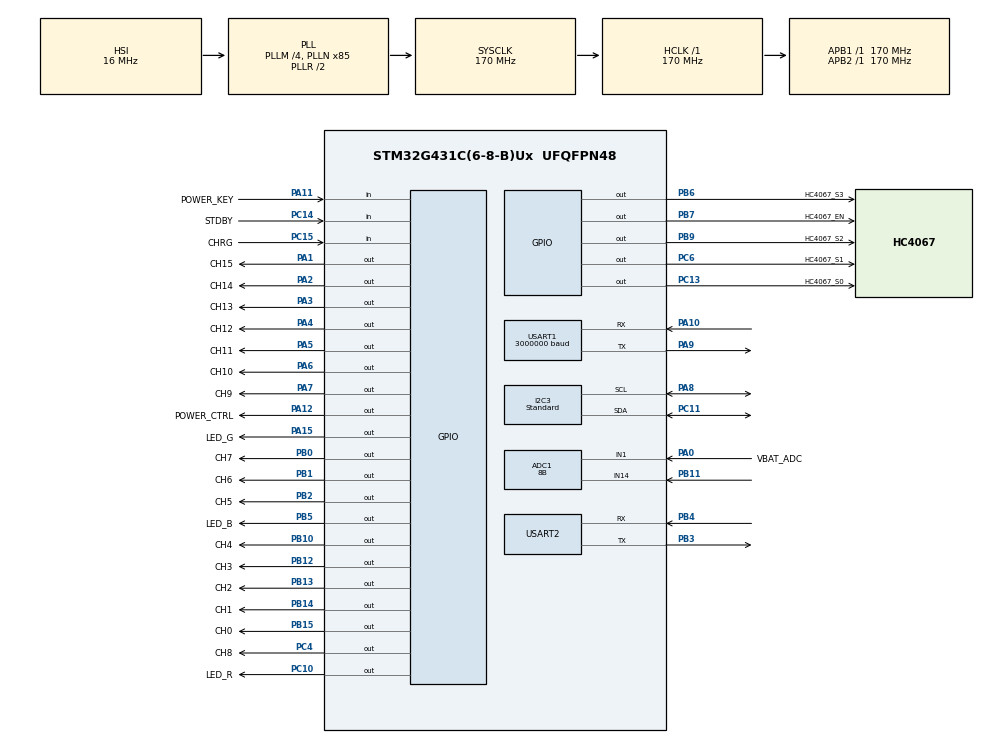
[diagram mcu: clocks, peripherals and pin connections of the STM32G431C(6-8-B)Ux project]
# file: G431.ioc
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ADC1.Channel-0\#ChannelRegularConversion=ADC_CHANNEL_14
ADC1.ContinuousConvMode=ENABLE
ADC1.DMAContinuousRequests=ENABLE
ADC1.NbrOfConversion=1
ADC1.NbrOfConversionFlag=1
ADC1.OffsetNumber-0\#ChannelRegularConversion=ADC_OFFSET_NONE
ADC1.Rank-0\#ChannelRegularConversion=1
ADC1.Resolution=ADC_RESOLUTION_8B
ADC1.SamplingTime-0\#ChannelRegularConversion=ADC_SAMPLETIME_2CYCLES_5
ADC1.master=1
ADC2.Channel-0\#ChannelRegularConversion=ADC_CHANNEL_1
ADC2.ClockPrescaler=ADC_CLOCK_SYNC_PCLK_DIV4
ADC2.ContinuousConvMode=ENABLE
ADC2.DMAContinuousRequests=ENABLE
ADC2.EOCSelection=ADC_EOC_SEQ_CONV
ADC2.NbrOfConversionFlag=1
ADC2.OffsetNumber-0\#ChannelRegularConversion=ADC_OFFSET_NONE
ADC2.Rank-0\#ChannelRegularConversion=1
ADC2.SamplingTime-0\#ChannelRegularConversion=ADC_SAMPLETIME_640CYCLES_5
Dma.ADC1.1.Direction=DMA_PERIPH_TO_MEMORY
Dma.ADC1.1.EventEnable=DISABLE
Dma.ADC1.1.Instance=DMA1_Channel2
Dma.ADC1.1.MemDataAlignment=DMA_MDATAALIGN_BYTE
Dma.ADC1.1.MemInc=DMA_MINC_ENABLE
Dma.ADC1.1.Mode=DMA_CIRCULAR
Dma.ADC1.1.PeriphDataAlignment=DMA_PDATAALIGN_BYTE
Dma.ADC1.1.PeriphInc=DMA_PINC_DISABLE
Dma.ADC1.1.Polarity=HAL_DMAMUX_REQ_GEN_RISING
Dma.ADC1.1.Priority=DMA_PRIORITY_LOW
Dma.ADC1.1.RequestNumber=1
Dma.ADC1.1.SignalID=NONE
Dma.ADC1.1.SyncEnable=DISABLE
Dma.ADC1.1.SyncPolarity=HAL_DMAMUX_SYNC_NO_EVENT
Dma.ADC1.1.SyncRequestNumber=1
Dma.ADC1.1.SyncSignalID=NONE
Dma.ADC2.3.Direction=DMA_PERIPH_TO_MEMORY
Dma.ADC2.3.EventEnable=DISABLE
Dma.ADC2.3.Instance=DMA1_Channel4
Dma.ADC2.3.MemDataAlignment=DMA_MDATAALIGN_HALFWORD
Dma.ADC2.3.MemInc=DMA_MINC_ENABLE
Dma.ADC2.3.Mode=DMA_CIRCULAR
Dma.ADC2.3.PeriphDataAlignment=DMA_PDATAALIGN_HALFWORD
Dma.ADC2.3.PeriphInc=DMA_PINC_DISABLE
Dma.ADC2.3.Polarity=HAL_DMAMUX_REQ_GEN_RISING
Dma.ADC2.3.Priority=DMA_PRIORITY_LOW
Dma.ADC2.3.RequestNumber=1
Dma.ADC2.3.SignalID=NONE
Dma.ADC2.3.SyncEnable=DISABLE
Dma.ADC2.3.SyncPolarity=HAL_DMAMUX_SYNC_NO_EVENT
Dma.ADC2.3.SyncRequestNumber=1
Dma.ADC2.3.SyncSignalID=NONE
Dma.Request0=USART1_TX
Dma.Request1=ADC1
Dma.Request2=USART1_RX
Dma.Request3=ADC2
Dma.Request4=USART2_RX
Dma.Request5=USART2_TX
Dma.USART1_RX.2.Direction=DMA_PERIPH_TO_MEMORY
Dma.USART1_RX.2.EventEnable=DISABLE
Dma.USART1_RX.2.Instance=DMA1_Channel3
Dma.USART1_RX.2.MemDataAlignment=DMA_MDATAALIGN_BYTE
Dma.USART1_RX.2.MemInc=DMA_MINC_ENABLE
Dma.USART1_RX.2.Mode=DMA_NORMAL
Dma.USART1_RX.2.PeriphDataAlignment=DMA_PDATAALIGN_BYTE
Dma.USART1_RX.2.PeriphInc=DMA_PINC_DISABLE
Dma.USART1_RX.2.Polarity=HAL_DMAMUX_REQ_GEN_RISING
Dma.USART1_RX.2.Priority=DMA_PRIORITY_LOW
Dma.USART1_RX.2.RequestNumber=1
Dma.USART1_RX.2.SignalID=NONE
Dma.USART1_RX.2.SyncEnable=DISABLE
Dma.USART1_RX.2.SyncPolarity=HAL_DMAMUX_SYNC_NO_EVENT
Dma.USART1_RX.2.SyncRequestNumber=1
Dma.USART1_RX.2.SyncSignalID=NONE
Dma.USART1_TX.0.Direction=DMA_MEMORY_TO_PERIPH
Dma.USART1_TX.0.EventEnable=DISABLE
Dma.USART1_TX.0.Instance=DMA1_Channel1
Dma.USART1_TX.0.MemDataAlignment=DMA_MDATAALIGN_BYTE
Dma.USART1_TX.0.MemInc=DMA_MINC_ENABLE
Dma.USART1_TX.0.Mode=DMA_NORMAL
Dma.USART1_TX.0.PeriphDataAlignment=DMA_PDATAALIGN_BYTE
Dma.USART1_TX.0.PeriphInc=DMA_PINC_DISABLE
Dma.USART1_TX.0.Polarity=HAL_DMAMUX_REQ_GEN_RISING
Dma.USART1_TX.0.Priority=DMA_PRIORITY_LOW
Dma.USART1_TX.0.RequestNumber=1
Dma.USART1_TX.0.SignalID=NONE
Dma.USART1_TX.0.SyncEnable=DISABLE
Dma.USART1_TX.0.SyncPolarity=HAL_DMAMUX_SYNC_NO_EVENT
Dma.USART1_TX.0.SyncRequestNumber=1
Dma.USART1_TX.0.SyncSignalID=NONE
Dma.USART2_RX.4.Direction=DMA_PERIPH_TO_MEMORY
Dma.USART2_RX.4.EventEnable=DISABLE
Dma.USART2_RX.4.Instance=DMA1_Channel5
Dma.USART2_RX.4.MemDataAlignment=DMA_MDATAALIGN_BYTE
Dma.USART2_RX.4.MemInc=DMA_MINC_ENABLE
Dma.USART2_RX.4.Mode=DMA_NORMAL
Dma.USART2_RX.4.PeriphDataAlignment=DMA_PDATAALIGN_BYTE
Dma.USART2_RX.4.PeriphInc=DMA_PINC_DISABLE
Dma.USART2_RX.4.Polarity=HAL_DMAMUX_REQ_GEN_RISING
Dma.USART2_RX.4.Priority=DMA_PRIORITY_MEDIUM
Dma.USART2_RX.4.RequestNumber=1
Dma.USART2_RX.4.SignalID=NONE
Dma.USART2_RX.4.SyncEnable=DISABLE
Dma.USART2_RX.4.SyncPolarity=HAL_DMAMUX_SYNC_NO_EVENT
Dma.USART2_RX.4.SyncRequestNumber=1
Dma.USART2_RX.4.SyncSignalID=NONE
Dma.USART2_TX.5.Direction=DMA_MEMORY_TO_PERIPH
Dma.USART2_TX.5.EventEnable=DISABLE
Dma.USART2_TX.5.Instance=DMA1_Channel6
Dma.USART2_TX.5.MemDataAlignment=DMA_MDATAALIGN_BYTE
Dma.USART2_TX.5.MemInc=DMA_MINC_ENABLE
Dma.USART2_TX.5.Mode=DMA_NORMAL
Dma.USART2_TX.5.PeriphDataAlignment=DMA_PDATAALIGN_BYTE
Dma.USART2_TX.5.PeriphInc=DMA_PINC_DISABLE
Dma.USART2_TX.5.Polarity=HAL_DMAMUX_REQ_GEN_RISING
Dma.USART2_TX.5.Priority=DMA_PRIORITY_MEDIUM
Dma.USART2_TX.5.RequestNumber=1
Dma.USART2_TX.5.SignalID=NONE
Dma.USART2_TX.5.SyncEnable=DISABLE
Dma.USART2_TX.5.SyncPolarity=HAL_DMAMUX_SYNC_NO_EVENT
Dma.USART2_TX.5.SyncRequestNumber=1
Dma.USART2_TX.5.SyncSignalID=NONE
I2C3.I2C_Speed_Mode=I2C_Standard
I2C3.Timing=0x40B285C2
IWDG.Prescaler=IWDG_PRESCALER_64
Mcu.Family=STM32G4
Mcu.Name=STM32G431C(6-8-B)Ux
Mcu.Package=UFQFPN48
NVIC.DMA1_Channel1_IRQn=true\:0\:0\:false\:false\:true\:false\:true\:true
NVIC.DMA1_Channel2_IRQn=true\:0\:0\:false\:false\:true\:false\:true\:true
NVIC.DMA1_Channel3_IRQn=true\:0\:0\:false\:false\:true\:false\:true\:true
NVIC.DMA1_Channel4_IRQn=true\:0\:0\:false\:false\:true\:false\:true\:true
NVIC.DMA1_Channel5_IRQn=true\:0\:0\:false\:false\:true\:false\:true\:true
NVIC.DMA1_Channel6_IRQn=true\:0\:0\:false\:false\:true\:false\:true\:true
NVIC.PriorityGroup=NVIC_PRIORITYGROUP_4
NVIC.TIM7_IRQn=true\:0\:0\:false\:false\:true\:true\:true\:true
NVIC.USART1_IRQn=true\:0\:0\:false\:false\:true\:false\:true\:true
NVIC.USART2_IRQn=true\:0\:0\:false\:false\:true\:true\:true\:true
PA0.GPIO_Label=VBAT_ADC
PA0.Signal=SharedAnalog_PA0
PA1.GPIO_Label=CH15
PA1.GPIO_ModeDefaultOutputPP=GPIO_MODE_OUTPUT_PP
PA1.GPIO_PuPd=GPIO_NOPULL
PA1.GPIO_Speed=GPIO_SPEED_FREQ_VERY_HIGH
PA1.PinState=GPIO_PIN_RESET
PA1.Signal=GPIO_Output
PA10.Mode=Asynchronous
PA10.Signal=USART1_RX
PA11.GPIO_Label=POWER_KEY
PA11.GPIO_PuPd=GPIO_PULLUP
PA11.Signal=GPIO_Input
PA12.GPIO_Label=POWER_CTRL
PA12.GPIO_PuPd=GPIO_PULLDOWN
PA12.PinState=GPIO_PIN_RESET
PA12.Signal=GPIO_Output
PA13.Mode=Serial_Wire
PA13.Signal=SYS_JTMS-SWDIO
PA14.Mode=Serial_Wire
PA14.Signal=SYS_JTCK-SWCLK
PA15.GPIO_Label=LED_G
PA15.PinState=GPIO_PIN_SET
PA15.Signal=GPIO_Output
PA2.GPIO_Label=CH14
PA2.GPIO_ModeDefaultOutputPP=GPIO_MODE_OUTPUT_PP
PA2.GPIO_PuPd=GPIO_NOPULL
PA2.GPIO_Speed=GPIO_SPEED_FREQ_VERY_HIGH
PA2.PinState=GPIO_PIN_RESET
PA2.Signal=GPIO_Output
PA3.GPIO_Label=CH13
PA3.GPIO_ModeDefaultOutputPP=GPIO_MODE_OUTPUT_PP
PA3.GPIO_PuPd=GPIO_NOPULL
PA3.GPIO_Speed=GPIO_SPEED_FREQ_VERY_HIGH
PA3.PinState=GPIO_PIN_RESET
PA3.Signal=GPIO_Output
PA4.GPIO_Label=CH12
PA4.GPIO_ModeDefaultOutputPP=GPIO_MODE_OUTPUT_PP
PA4.GPIO_PuPd=GPIO_NOPULL
PA4.GPIO_Speed=GPIO_SPEED_FREQ_VERY_HIGH
PA4.PinState=GPIO_PIN_RESET
PA4.Signal=GPIO_Output
PA5.GPIO_Label=CH11
PA5.GPIO_ModeDefaultOutputPP=GPIO_MODE_OUTPUT_PP
PA5.GPIO_PuPd=GPIO_NOPULL
PA5.GPIO_Speed=GPIO_SPEED_FREQ_VERY_HIGH
PA5.PinState=GPIO_PIN_RESET
PA5.Signal=GPIO_Output
PA6.GPIO_Label=CH10
PA6.GPIO_ModeDefaultOutputPP=GPIO_MODE_OUTPUT_PP
PA6.GPIO_PuPd=GPIO_NOPULL
PA6.GPIO_Speed=GPIO_SPEED_FREQ_VERY_HIGH
PA6.PinState=GPIO_PIN_RESET
PA6.Signal=GPIO_Output
PA7.GPIO_Label=CH9
PA7.GPIO_ModeDefaultOutputPP=GPIO_MODE_OUTPUT_PP
PA7.GPIO_PuPd=GPIO_NOPULL
PA7.GPIO_Speed=GPIO_SPEED_FREQ_VERY_HIGH
PA7.PinState=GPIO_PIN_RESET
PA7.Signal=GPIO_Output
PA8.Mode=I2C
PA8.Signal=I2C3_SCL
PA9.Mode=Asynchronous
PA9.Signal=USART1_TX
PB0.GPIO_Label=CH7
PB0.GPIO_ModeDefaultOutputPP=GPIO_MODE_OUTPUT_PP
PB0.GPIO_PuPd=GPIO_NOPULL
PB0.GPIO_Speed=GPIO_SPEED_FREQ_VERY_HIGH
PB0.PinState=GPIO_PIN_RESET
PB0.Signal=GPIO_Output
PB1.GPIO_Label=CH6
PB1.GPIO_ModeDefaultOutputPP=GPIO_MODE_OUTPUT_PP
PB1.GPIO_PuPd=GPIO_NOPULL
PB1.GPIO_Speed=GPIO_SPEED_FREQ_VERY_HIGH
PB1.PinState=GPIO_PIN_RESET
PB1.Signal=GPIO_Output
PB10.GPIO_Label=CH4
PB10.GPIO_ModeDefaultOutputPP=GPIO_MODE_OUTPUT_PP
PB10.GPIO_PuPd=GPIO_NOPULL
PB10.GPIO_Speed=GPIO_SPEED_FREQ_VERY_HIGH
PB10.PinState=GPIO_PIN_RESET
PB10.Signal=GPIO_Output
PB11.Mode=IN14-Single-Ended
PB11.Signal=ADC1_IN14
PB12.GPIO_Label=CH3
PB12.GPIO_ModeDefaultOutputPP=GPIO_MODE_OUTPUT_PP
PB12.GPIO_PuPd=GPIO_NOPULL
PB12.GPIO_Speed=GPIO_SPEED_FREQ_VERY_HIGH
PB12.PinState=GPIO_PIN_RESET
PB12.Signal=GPIO_Output
PB13.GPIO_Label=CH2
PB13.GPIO_ModeDefaultOutputPP=GPIO_MODE_OUTPUT_PP
PB13.GPIO_PuPd=GPIO_NOPULL
PB13.GPIO_Speed=GPIO_SPEED_FREQ_VERY_HIGH
PB13.PinState=GPIO_PIN_RESET
PB13.Signal=GPIO_Output
PB14.GPIO_Label=CH1
PB14.GPIO_ModeDefaultOutputPP=GPIO_MODE_OUTPUT_PP
PB14.GPIO_PuPd=GPIO_NOPULL
PB14.GPIO_Speed=GPIO_SPEED_FREQ_VERY_HIGH
PB14.PinState=GPIO_PIN_RESET
PB14.Signal=GPIO_Output
PB15.GPIO_Label=CH0
PB15.GPIO_ModeDefaultOutputPP=GPIO_MODE_OUTPUT_PP
PB15.GPIO_PuPd=GPIO_NOPULL
PB15.GPIO_Speed=GPIO_SPEED_FREQ_VERY_HIGH
PB15.PinState=GPIO_PIN_RESET
PB15.Signal=GPIO_Output
PB2.GPIO_Label=CH5
PB2.GPIO_ModeDefaultOutputPP=GPIO_MODE_OUTPUT_PP
PB2.GPIO_PuPd=GPIO_NOPULL
PB2.GPIO_Speed=GPIO_SPEED_FREQ_VERY_HIGH
PB2.PinState=GPIO_PIN_RESET
PB2.Signal=GPIO_Output
PB3.Mode=Asynchronous
PB3.Signal=USART2_TX
PB4.Mode=Asynchronous
PB4.Signal=USART2_RX
PB5.GPIO_Label=LED_B
PB5.PinState=GPIO_PIN_SET
PB5.Signal=GPIO_Output
PB6.GPIO_Label=HC4067_S3
PB6.GPIO_ModeDefaultOutputPP=GPIO_MODE_OUTPUT_PP
PB6.GPIO_PuPd=GPIO_NOPULL
PB6.PinState=GPIO_PIN_RESET
PB6.Signal=GPIO_Output
PB7.GPIO_Label=HC4067_EN
PB7.GPIO_Speed=GPIO_SPEED_FREQ_VERY_HIGH
PB7.PinState=GPIO_PIN_SET
PB7.Signal=GPIO_Output
PB9.GPIO_Label=HC4067_S2
PB9.GPIO_ModeDefaultOutputPP=GPIO_MODE_OUTPUT_PP
PB9.GPIO_PuPd=GPIO_NOPULL
PB9.PinState=GPIO_PIN_RESET
PB9.Signal=GPIO_Output
PC10.GPIO_Label=LED_R
PC10.PinState=GPIO_PIN_SET
PC10.Signal=GPIO_Output
PC11.Mode=I2C
PC11.Signal=I2C3_SDA
PC13.GPIO_Label=HC4067_S0
PC13.GPIO_ModeDefaultOutputPP=GPIO_MODE_OUTPUT_PP
PC13.GPIO_PuPd=GPIO_NOPULL
PC13.PinState=GPIO_PIN_RESET
PC13.Signal=GPIO_Output
PC14-OSC32_IN.GPIO_Label=STDBY
PC14-OSC32_IN.GPIO_PuPd=GPIO_PULLUP
PC14-OSC32_IN.Signal=GPIO_Input
PC15-OSC32_OUT.GPIO_Label=CHRG
PC15-OSC32_OUT.GPIO_PuPd=GPIO_PULLUP
PC15-OSC32_OUT.Signal=GPIO_Input
PC4.GPIO_Label=CH8
PC4.GPIO_ModeDefaultOutputPP=GPIO_MODE_OUTPUT_PP
PC4.GPIO_PuPd=GPIO_NOPULL
PC4.GPIO_Speed=GPIO_SPEED_FREQ_VERY_HIGH
PC4.PinState=GPIO_PIN_RESET
PC4.Signal=GPIO_Output
PC6.GPIO_Label=HC4067_S1
PC6.GPIO_ModeDefaultOutputPP=GPIO_MODE_OUTPUT_PP
PC6.GPIO_PuPd=GPIO_NOPULL
PC6.GPIO_Speed=GPIO_SPEED_FREQ_LOW
PC6.PinState=GPIO_PIN_RESET
PC6.Signal=GPIO_Output
PF0-OSC_IN.Mode=HSE-External-Oscillator
PF0-OSC_IN.Signal=RCC_OSC_IN
PF1-OSC_OUT.Mode=HSE-External-Oscillator
PF1-OSC_OUT.Signal=RCC_OSC_OUT
ProjectManager.HeapSize=0x200
ProjectManager.StackSize=0x400
ProjectManager.TargetToolchain=MDK-ARM V5.32
RCC.ADC12Freq_Value=170000000
RCC.AHBFreq_Value=170000000
RCC.APB1Freq_Value=170000000
RCC.APB1TimFreq_Value=170000000
RCC.APB2Freq_Value=170000000
RCC.APB2TimFreq_Value=170000000
RCC.CortexFreq_Value=170000000
RCC.EXTERNAL_CLOCK_VALUE=12288000
RCC.HCLKFreq_Value=170000000
RCC.HSE_VALUE=25000000
RCC.HSI48_VALUE=48000000
RCC.HSI_VALUE=16000000
RCC.LSE_VALUE=32768
RCC.PLLM=RCC_PLLM_DIV4
RCC.PLLN=85
RCC.SYSCLKFreq_VALUE=170000000
RCC.SYSCLKSource=RCC_SYSCLKSOURCE_PLLCLK
RCC.USBFreq_Value=170000000
RCC.VCOOutputFreq_Value=340000000
SH.SharedAnalog_PA0.0=ADC1_IN1,IN1-Single-Ended
SH.SharedAnalog_PA0.1=ADC2_IN1,IN1-Single-Ended
TIM7.PeriodNoDither=999
TIM7.Prescaler=169
USART1.BaudRate=3000000
USART1.VirtualMode-Asynchronous=VM_ASYNC
USART2.VirtualMode-Asynchronous=VM_ASYNC
VP_IWDG_VS_IWDG.Mode=IWDG_Activate
VP_SYS_VS_DBSignals.Mode=DisableDeadBatterySignals
VP_TIM7_VS_ClockSourceINT.Mode=Enable_Timer
board=custom

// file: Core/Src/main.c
/* USER CODE BEGIN Header */
/**
 ******************************************************************************
 * @file           : main.c
 * @brief          : Main program body
 ******************************************************************************
 * @attention
 *
 * Copyright (c) 2025 STMicroelectronics.
 * All rights reserved.
 *
 * This software is licensed under terms that can be found in the LICENSE file
 * in the root directory of this software component.
 * If no LICENSE file comes with this software, it is provided AS-IS.
 *
 ******************************************************************************
 */
/* USER CODE END Header */
#include "main.h"
#include "adc.h"
#include "dma.h"
#include "i2c.h"
#include "iwdg.h"
#include "tim.h"
#include "usart.h"
#include "gpio.h"

/* USER CODE BEGIN Includes */
#include "user_comm.h" // Include user-defined communication header
/* USER CODE END Includes */

void SystemClock_Config(void);

int main(void)
{

    /* MCU Configuration--------------------------------------------------------*/

    /* Reset of all peripherals, Initializes the Flash interface and the Systick. */
    HAL_Init();

    /* Configure the system clock */
    SystemClock_Config();

    /* Initialize all configured peripherals */
    MX_GPIO_Init();
    MX_DMA_Init();
    MX_ADC1_Init();
    MX_USART1_UART_Init();
    MX_USART2_UART_Init();
    MX_I2C3_Init();
    MX_ADC2_Init();
    MX_TIM7_Init();
    MX_IWDG_Init();
    /* USER CODE BEGIN 2 */
    // HAL_GPIO_WritePin(LED_B_GPIO_Port, LED_B_Pin, GPIO_PIN_RESET); // Turn on blue LED

    delay_init();

    // HAL_Delay(300);
    HAL_GPIO_WritePin(GPIOA, POWER_CTRL_Pin, GPIO_PIN_SET);
    // init_frame_tail();

    fill_tx_data();

    start_uart_rx();

    // 切换adc通道
    set_adc_ch(0);

    // 配置 SCL=PA8, SDA=PC11
    // IIC_Init();

    // ICM42688DelayMs(2);
    // bsp_Icm42688Init();

#if MEMS_USING == ICM42688
    // icm42688_init();
#elif MEMS_USING == QMI8658
    atk_qmi8658_init();
#endif

    // icm42688_reset_quat_identity();
    // float g_q[4] = {1.0f, 0.0f, 0.0f, 0.0f}; // 初始四元数
    uint32_t last = HAL_GetTick();

    // HAL_ADCEx_Calibration_Start(&hadc1, ADC_CALIB_OFFSET, ADC_SINGLE_ENDED);
    // HAL_ADCEx_Calibration_Start(&hadc2, ADC_CALIB_OFFSET, ADC_SINGLE_ENDED);

    // 打开adc2_dma
    HAL_ADC_Start_DMA(&hadc2, (uint32_t *)bat_val_dma_buf, ADC2_DMA_BUF_LEN);

    // 打开tim7
    HAL_TIM_Base_Start_IT(&htim7);
    uint8_t tx_buf[100];

    start_adc_collecting();

    // printf("System Initialized\r\n");

    // printf("g_imu.ssvt_a = %d\r\n", g_imu.ssvt_a);
    // printf("g_imu.ssvt_g = %d\r\n", g_imu.ssvt_g);

    while (1)
    {

        // qmi8658_task();

        qmi8658_task_5ms();

        HAL_IWDG_Refresh(&hiwdg);

        uart_send_100hz();

        // main_task_adc_first();
        // printf("Watchdog refreshed\r\n");
    }

    /* USER CODE END 2 */

    /* Infinite loop */
    /* USER CODE BEGIN WHILE */

    while (1)
    {

        // 喂狗
        HAL_IWDG_Refresh(&hiwdg);

        bat_task();

        led_task();

        key_task();

#if MEMS_USING == ICM42688
        gsensor_task();
#elif MEMS_USING == QMI8658
        qmi8658_task();
#endif
        main_task_adc_first();

        bl_task();

        u2_task();

        charge_state_task();

        imu_rest_cmd_task();

#if 0

        // if (tim7_counter > 1000)
        // {
        //     tim7_counter = 0;
        //     sprintf(tx_buf, "running\r\n");
        //     HAL_UART_Transmit_DMA(&huart1, tx_buf, strlen((char *)tx_buf));
        // }
        // main_task_adc_first();
        HAL_Delay(10);

        icm42688_read_accel(&acc);
        icm42688_read_gyro(&gyro);

        uint32_t now = HAL_GetTick();
        float dt = (now - last) * 0.001f; // s
        last = now;

        icm42688_pipeline_update(&acc, &gyro, dt, g_q);

        char tx_buf[96];
        int n = snprintf(tx_buf, sizeof(tx_buf),
                         "%.4f, %.4f, %.4f, %.4f\r\n",
                         g_q[0], g_q[1], g_q[2], g_q[3]);
        if (n > 0)
        {
            HAL_UART_Transmit(&huart1, (uint8_t *)tx_buf, (uint16_t)n, 50);
        }
#endif
        // uint8_t tx_buf[100];
        // sprintf(tx_buf, "%.4f, %.4f, %.4f, %.4f\r\n", g_q[0], g_q[1], g_q[2], g_q[3]);
        // HAL_UART_Transmit_DMA(&huart1, tx_buf, strlen((char *)tx_buf)); // 发送四元数数据

        // uint8_t tx_end_buf[2] = {0x0d, 0x0a}; // 发送结束符
        // HAL_UART_Transmit_DMA(&huart1, tx_end_buf, sizeof(tx_end_buf)); // 发送结束符
        // icm42688_raw_to_units(&acc, &gyro, &acc_g, &gyro_dps);

        // // acc_g.*, gyro_dps.* 可直接用
        // HAL_Delay(10); // 100Hz 周期

        // uint8_t tx_buf[] = {0x01, 0x02, 0x0d, 0x0a};
        // HAL_UART_Transmit(&huart2, tx_buf, sizeof(tx_buf), 0xffff);
        // main_task_adc_first();

        // uart_send();
        // HAL_Delay(100); // Delay to simulate processing time
        // com_task();

        //
        // HAL_Delay(100);

        // main_task_adc();
        // points_data[0]++;
        // uart_send();
        // HAL_Delay(100); // Delay to simulate processing time
        // main_task_adc();
        // main_task();
        /* USER CODE END WHILE */

    }
}

void SystemClock_Config(void)
{
    RCC_OscInitTypeDef RCC_OscInitStruct = {0};
    RCC_ClkInitTypeDef RCC_ClkInitStruct = {0};

    /** Configure the main internal regulator output voltage
     */
    HAL_PWREx_ControlVoltageScaling(PWR_REGULATOR_VOLTAGE_SCALE1_BOOST);

    /** Initializes the RCC Oscillators according to the specified parameters
     * in the RCC_OscInitTypeDef structure.
     */
    RCC_OscInitStruct.OscillatorType = RCC_OSCILLATORTYPE_HSI | RCC_OSCILLATORTYPE_LSI;
    RCC_OscInitStruct.HSIState = RCC_HSI_ON;
    RCC_OscInitStruct.HSICalibrationValue = RCC_HSICALIBRATION_DEFAULT;
    RCC_OscInitStruct.LSIState = RCC_LSI_ON;
    RCC_OscInitStruct.PLL.PLLState = RCC_PLL_ON;
    RCC_OscInitStruct.PLL.PLLSource = RCC_PLLSOURCE_HSI;
    RCC_OscInitStruct.PLL.PLLM = RCC_PLLM_DIV4;
    RCC_OscInitStruct.PLL.PLLN = 85;
    RCC_OscInitStruct.PLL.PLLP = RCC_PLLP_DIV2;
    RCC_OscInitStruct.PLL.PLLQ = RCC_PLLQ_DIV2;
    RCC_OscInitStruct.PLL.PLLR = RCC_PLLR_DIV2;
    if (HAL_RCC_OscConfig(&RCC_OscInitStruct) != HAL_OK)
    {
        Error_Handler();
    }

    /** Initializes the CPU, AHB and APB buses clocks
     */
    RCC_ClkInitStruct.ClockType = RCC_CLOCKTYPE_HCLK | RCC_CLOCKTYPE_SYSCLK | RCC_CLOCKTYPE_PCLK1 | RCC_CLOCKTYPE_PCLK2;
    RCC_ClkInitStruct.SYSCLKSource = RCC_SYSCLKSOURCE_PLLCLK;
    RCC_ClkInitStruct.AHBCLKDivider = RCC_SYSCLK_DIV1;
    RCC_ClkInitStruct.APB1CLKDivider = RCC_HCLK_DIV1;
    RCC_ClkInitStruct.APB2CLKDivider = RCC_HCLK_DIV1;

    if (HAL_RCC_ClockConfig(&RCC_ClkInitStruct, FLASH_LATENCY_4) != HAL_OK)
    {
        Error_Handler();
    }
}

void Error_Handler(void)
{
    __disable_irq();
    while (1)
    {
    }
}
